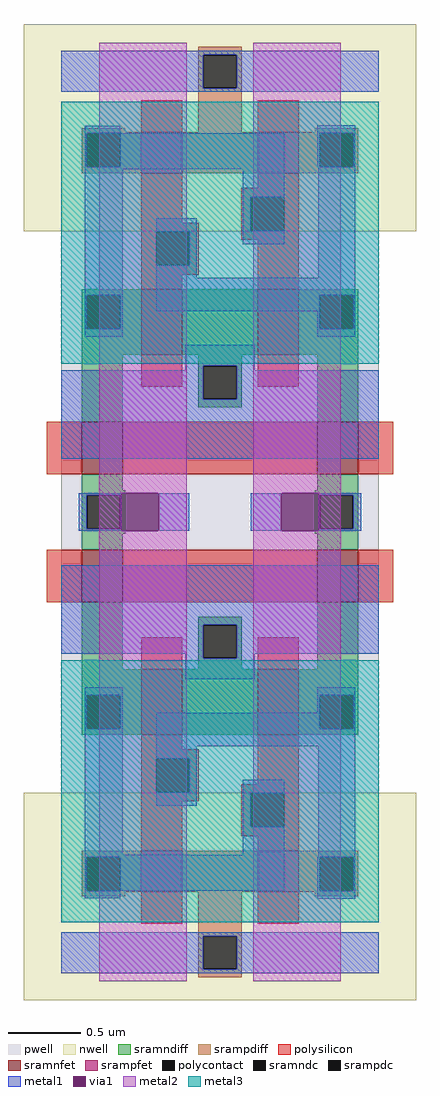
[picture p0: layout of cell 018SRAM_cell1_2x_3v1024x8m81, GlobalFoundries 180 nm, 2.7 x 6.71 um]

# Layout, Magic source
magic
tech gf180mcuD
magscale 1 10
use 018SRAM_cell1_3v1024x8m81  018SRAM_cell1_3v1024x8m81_0
transform 1 0 0 0 -1 900
box 30 89 570 797
use 018SRAM_cell1_3v1024x8m81  018SRAM_cell1_3v1024x8m81_1
transform 1 0 0 0 1 648
box 30 89 570 797
<< end >>

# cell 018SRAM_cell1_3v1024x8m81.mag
magic
tech gf180mcuD
magscale 1 10
<< nwell >>
rect 30 512 570 797
<< pwell >>
rect 82 89 518 512
<< sramnfet >>
rect 192 342 248 432
rect 352 342 408 432
rect 110 178 166 250
rect 434 178 490 250
<< srampfet >>
rect 192 592 248 648
rect 352 592 408 648
<< sramndiff >>
rect 110 424 192 432
rect 110 378 117 424
rect 163 378 192 424
rect 110 342 192 378
rect 248 342 352 432
rect 408 424 490 432
rect 408 378 437 424
rect 483 378 490 424
rect 408 342 490 378
rect 110 250 166 342
rect 270 327 330 342
rect 270 281 277 327
rect 323 281 330 327
rect 270 270 330 281
rect 434 250 490 342
rect 110 156 166 178
rect 434 156 490 178
rect 110 149 170 156
rect 110 103 117 149
rect 163 103 170 149
rect 110 96 170 103
rect 430 149 490 156
rect 430 103 437 149
rect 483 103 490 149
rect 430 96 490 103
<< srampdiff >>
rect 270 755 330 766
rect 270 709 277 755
rect 323 709 330 755
rect 110 648 170 654
rect 270 648 330 709
rect 430 648 490 654
rect 110 647 192 648
rect 110 601 117 647
rect 163 601 192 647
rect 110 592 192 601
rect 248 592 352 648
rect 408 647 490 648
rect 408 601 437 647
rect 483 601 490 647
rect 408 592 490 601
<< sramndc >>
rect 117 378 163 424
rect 437 378 483 424
rect 277 281 323 327
rect 117 103 163 149
rect 437 103 483 149
<< srampdc >>
rect 277 709 323 755
rect 117 601 163 647
rect 437 601 483 647
<< polysilicon >>
rect 192 648 248 692
rect 352 648 408 692
rect 192 524 248 592
rect 352 572 408 592
rect 329 559 408 572
rect 192 511 271 524
rect 192 465 212 511
rect 258 465 271 511
rect 329 513 342 559
rect 388 513 408 559
rect 329 500 408 513
rect 192 452 271 465
rect 192 432 248 452
rect 352 432 408 500
rect 192 298 248 342
rect 352 298 408 342
rect 62 178 110 250
rect 166 178 434 250
rect 490 178 538 250
<< polycontact >>
rect 212 465 258 511
rect 342 513 388 559
<< metal1 >>
rect 82 755 518 760
rect 82 709 277 755
rect 323 709 518 755
rect 82 704 518 709
rect 114 647 163 657
rect 434 647 486 658
rect 114 601 117 647
rect 163 601 388 647
rect 434 601 437 647
rect 483 601 486 647
rect 114 597 388 601
rect 114 424 166 597
rect 331 559 388 597
rect 114 378 117 424
rect 163 378 166 424
rect 212 511 268 530
rect 258 465 268 511
rect 331 513 342 559
rect 331 494 388 513
rect 212 448 268 465
rect 435 448 486 601
rect 212 424 486 448
rect 212 402 437 424
rect 114 367 166 378
rect 434 378 437 402
rect 483 378 486 424
rect 434 367 486 378
rect 252 327 348 356
rect 252 321 277 327
rect 82 281 277 321
rect 323 321 348 327
rect 323 281 518 321
rect 82 199 518 281
rect 106 149 164 152
rect 106 103 117 149
rect 163 103 164 149
rect 106 100 164 103
rect 216 100 258 152
rect 342 100 384 152
rect 436 149 494 152
rect 436 103 437 149
rect 483 103 494 149
rect 436 100 494 103
<< via1 >>
rect 164 100 216 152
rect 384 100 436 152
<< metal2 >>
rect 134 152 254 771
rect 134 100 164 152
rect 216 100 254 152
rect 134 89 254 100
rect 346 152 466 771
rect 346 100 384 152
rect 436 100 466 152
rect 346 89 466 100
<< metal3 >>
rect 82 330 518 690
<< properties >>
string FIXED_BBOX 82 126 518 732
string MASKHINTS_SRAMDEF 24 89 576 797
<< end >>
